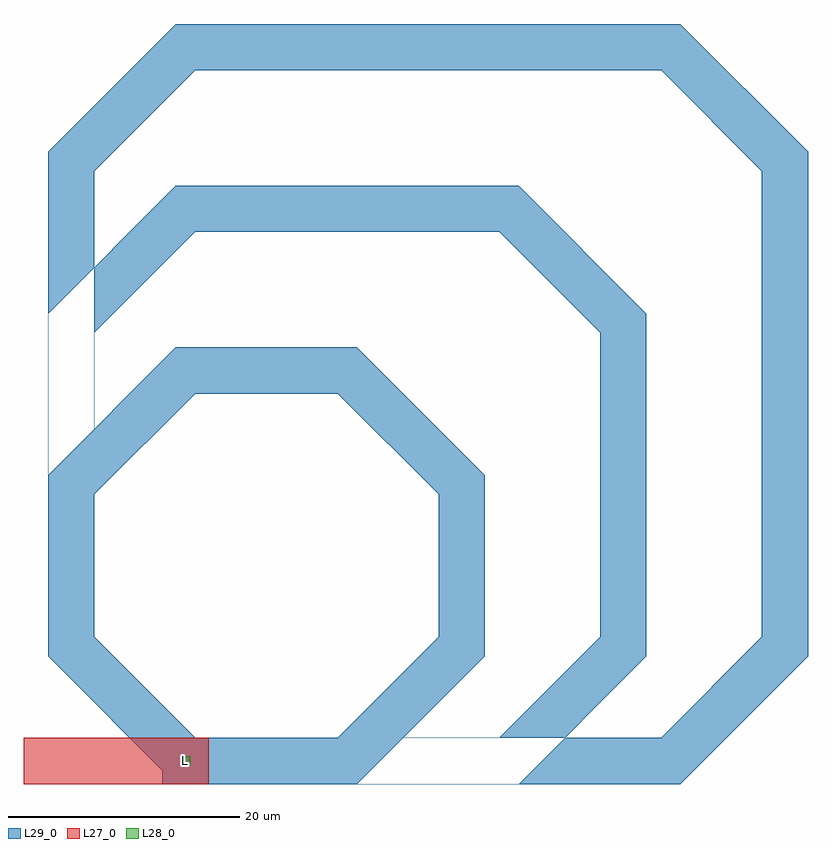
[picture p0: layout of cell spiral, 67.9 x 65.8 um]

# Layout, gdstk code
import gdstk
lib = gdstk.Library(unit=1e-6, precision=5e-10)
def R(c, l, rs):  # rectangles x0, y0, x1, y1
    for r in rs: c.add(gdstk.rectangle(r[:2], r[2:], *l))
def P(c, l, *ps):  # polygons
    for p in ps: c.add(gdstk.Polygon(p, *l))
L27_0 = (27, 0)
L28_0 = (28, 0)
L29_0 = (29, 0)

spiral = lib.new_cell('spiral')
R(spiral, L27_0, [(-14,-2,0,2), (-2,-2,2,2), (-0.4,-0.4,0.4,0.4)])
R(spiral, L28_0, [(-0.4,-0.4,0.4,0.4)])
R(spiral, L29_0, [(-2,-2,2,2), (-0.4,-0.4,0.4,0.4)])
P(spiral, L29_0, [(-0.83,-2),(-11.9,9.07),(-11.9,38.73),(-0.83,49.8),(28.83,49.8),(39.9,38.73),(39.9,9.07),(28.83,-2),(-0.83,-2),(-11.9,9.07),(-11.9,24.73),(-0.83,35.8),(14.83,35.8),(25.9,24.73),(25.9,9.07),(14.83,-2),(0,-2),(0,2),(13.17,2),(21.9,10.73),(21.9,23.07),(13.17,31.8),(0.83,31.8),(-7.9,23.07),(-7.9,10.73),(0.83,2),(27.17,2),(35.9,10.73),(35.9,37.07),(27.17,45.8),(0.83,45.8),(-7.9,37.07),(-7.9,10.73),(0.83,2),(41.17,2),(49.9,10.73),(49.9,51.07),(41.17,59.8),(0.83,59.8),(-7.9,51.07),(-7.9,10.73),(1.415,1.415),(-1.415,-1.415),(-11.9,9.07),(-11.9,52.73),(-0.83,63.8),(42.83,63.8),(53.9,52.73),(53.9,9.07),(42.83,-2)])
spiral.add(gdstk.Label('L', (0,0), layer=29, texttype=1))
spiral.add(gdstk.Label('L', (0,0), layer=27, texttype=1))

lib.write_gds('spiral.gds')
